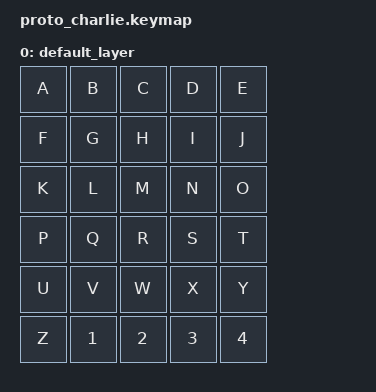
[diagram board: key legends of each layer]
/*
 * Task C2 の判定表。overlay の map と同じ順に 30 個の文字を並べる。
 *
 *   出た文字   RC(row,col)   アノード側 → カソード側
 *   --------------------------------------------------
 *     a          RC(0,1)        D3 → D4
 *     b          RC(0,2)        D3 → D5
 *     c          RC(0,3)        D3 → D6
 *     d          RC(0,4)        D3 → D7
 *     e          RC(0,5)        D3 → D8
 *     f          RC(1,0)        D4 → D3
 *     g          RC(1,2)        D4 → D5
 *     h          RC(1,3)        D4 → D6
 *     i          RC(1,4)        D4 → D7
 *     j          RC(1,5)        D4 → D8
 *     k          RC(2,0)        D5 → D3
 *     l          RC(2,1)        D5 → D4
 *     m          RC(2,3)        D5 → D6
 *     n          RC(2,4)        D5 → D7
 *     o          RC(2,5)        D5 → D8
 *     p          RC(3,0)        D6 → D3
 *     q          RC(3,1)        D6 → D4
 *     r          RC(3,2)        D6 → D5
 *     s          RC(3,4)        D6 → D7
 *     t          RC(3,5)        D6 → D8
 *     u          RC(4,0)        D7 → D3
 *     v          RC(4,1)        D7 → D4
 *     w          RC(4,2)        D7 → D5
 *     x          RC(4,3)        D7 → D6
 *     y          RC(4,5)        D7 → D8
 *     z          RC(5,0)        D8 → D3
 *     1          RC(5,1)        D8 → D4
 *     2          RC(5,2)        D8 → D5
 *     3          RC(5,3)        D8 → D6
 *     4          RC(5,4)        D8 → D7
 *
 * 右欄は「読み取った規則が正しければこうなるはず」という**予測**であって、
 * 実測結果ではない。実測がこの表と食い違ったら規則の読み違いなので、
 * docs/hardware/task-c2-charlieplex.md に実測値を記録して map を作り直す。
 */
#include <behaviors.dtsi>
#include <dt-bindings/zmk/keys.h>

/ {
	keymap {
		compatible = "zmk,keymap";

		default_layer {
			bindings = <
			&kp A &kp B &kp C &kp D &kp E
			&kp F &kp G &kp H &kp I &kp J
			&kp K &kp L &kp M &kp N &kp O
			&kp P &kp Q &kp R &kp S &kp T
			&kp U &kp V &kp W &kp X &kp Y
			&kp Z &kp N1 &kp N2 &kp N3 &kp N4
			>;
		};
	};
};
